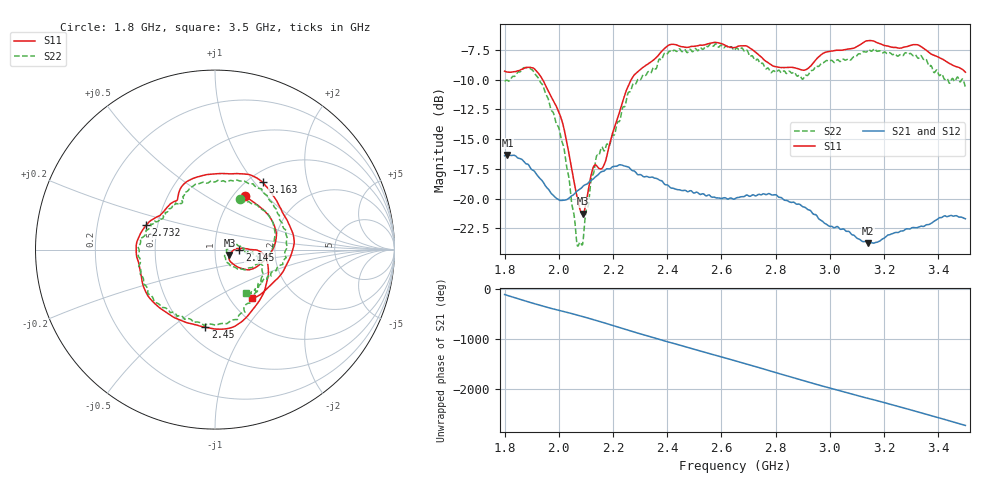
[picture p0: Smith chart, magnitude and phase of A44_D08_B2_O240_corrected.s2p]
! Created with skrf 1.9.0 (http://scikit-rf.org).
# Hz S RI R 50.0
!freq ReS11 ImS11 ReS21 ImS21 ReS12 ImS12 ReS22 ImS22
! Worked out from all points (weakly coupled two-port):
!   1601 points, 1.8 GHz to 3.5 GHz, reference 50 ohm
!   highest |S21| = -16.32 dB at 1.811 GHz (marker M1); lowest = -23.8 dB at 3.142 GHz (marker M2)
!   lowest |S11| = -21.3 dB at 2.088 GHz (marker M3), VSWR 1.19, Z = 58.7 - j3.62 ohm
!   |S11| at or under -10 dB: 1.941 GHz to 2.267 GHz (326.5 MHz wide, 15.5 % of centre)
!   |S22| runs from -24.0 to -7.0 dB; largest |S21 - S12| = 0.0029
!   S11 on the Smith chart (normalised r, x): 1.8 GHz: 1.12, +0.76; 2.145 GHz: 1.31, -0.00; 2.45 GHz: 0.62, -0.67; 2.732 GHz: 0.43, +0.14; 3.163 GHz: 1.16, +1.10; 3.5 GHz: 1.26, -0.77
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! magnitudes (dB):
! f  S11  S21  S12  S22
! 1.8 GHz  -9.3  -16.4  -16.4  -10.1
! 1.811 GHz  -9.4  -16.3  -16.3  -10.1
! 1.886 GHz  -9.0  -17.1  -17.2  -9.0
! 1.941 GHz  -10.0  -18.6  -18.6  -10.5
! 2.011 GHz  -13.5  -20.2  -20.2  -15.2
! 2.067 GHz  -19.8  -19.4  -19.4  -23.8
! 2.084 GHz  -21.2  -19.1  -19.1  -23.8
! 2.088 GHz  -21.3  -19.0  -19.0  -23.8
! 2.125 GHz  -17.5  -18.4  -18.4  -18.0
! 2.145 GHz  -17.4  -18.0  -18.0  -16.4
! 2.169 GHz  -17.1  -17.6  -17.7  -16.0
! 2.266 GHz  -10.0  -17.6  -17.5  -10.8
! 2.367 GHz  -7.9  -18.4  -18.3  -8.4
! 2.45 GHz  -7.2  -19.3  -19.3  -7.5
! 2.65 GHz  -7.3  -20.0  -20.0  -7.5
! 2.732 GHz  -7.8  -19.7  -19.7  -8.3
! 2.934 GHz  -8.7  -21.2  -21.2  -9.2
! 3.142 GHz  -6.7  -23.8  -23.7  -7.5
! 3.163 GHz  -6.8  -23.8  -23.7  -7.4
! 3.217 GHz  -7.2  -23.1  -23.0  -7.8
! 3.326 GHz  -7.1  -22.4  -22.4  -8.2
! 3.5 GHz  -9.4  -21.7  -21.7  -10.6
